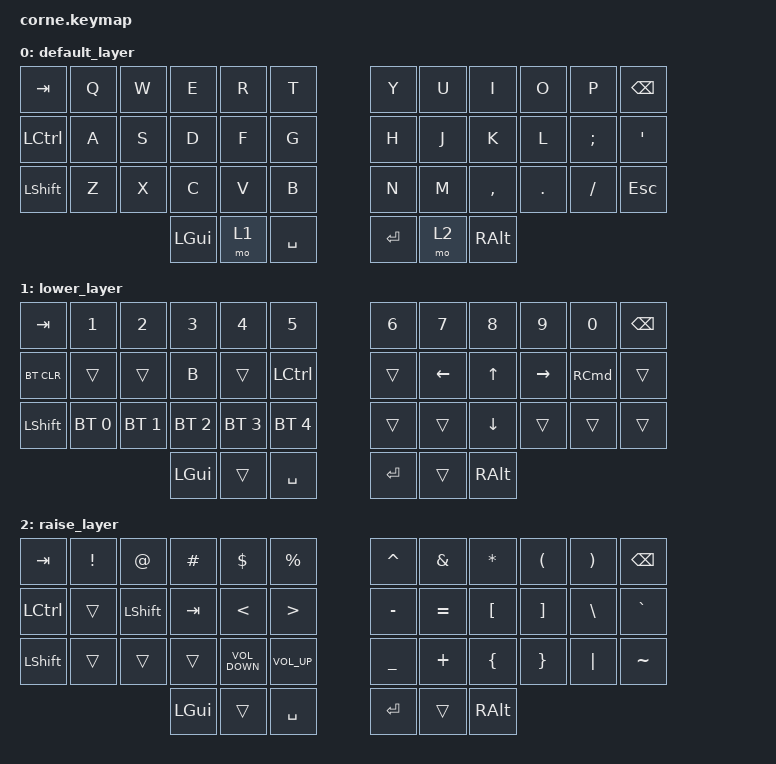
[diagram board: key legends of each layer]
/*
 * Copyright (c) 2020 The ZMK Contributors
 *
 * SPDX-License-Identifier: MIT
 */

#include <behaviors.dtsi>
#include <dt-bindings/zmk/bt.h>
#include <dt-bindings/zmk/keys.h>

/ {
    keymap {
        compatible = "zmk,keymap";

        default_layer {
            // -----------------------------------------------------------------------------------------
            // |  TAB |  Q  |  W  |  E  |  R  |  T  |   |  Y  |  U   |  I  |  O  |  P  | BSPC |
            // | CTRL |  A  |  S  |  D  |  F  |  G  |   |  H  |  J   |  K  |  L  |  ;  |  '   |
            // | SHFT |  Z  |  X  |  C  |  V  |  B  |   |  N  |  M   |  ,  |  .  |  /  | ESC  |
            //                    | GUI | LWR | SPC |   | ENT | RSE  | ALT |

            bindings = <
&kp TAB    &kp Q  &kp W  &kp E     &kp R  &kp T        &kp Y    &kp U  &kp I      &kp O    &kp P     &kp BSPC
&kp LCTRL  &kp A  &kp S  &kp D     &kp F  &kp G        &kp H    &kp J  &kp K      &kp L    &kp SEMI  &kp SQT
&kp LSHFT  &kp Z  &kp X  &kp C     &kp V  &kp B        &kp N    &kp M  &kp COMMA  &kp DOT  &kp FSLH  &kp ESC
                         &kp LGUI  &mo 1  &kp SPACE    &kp RET  &mo 2  &kp RALT
            >;
        };

        lower_layer {
            // -----------------------------------------------------------------------------------------
            // |  TAB |  1  |  2  |  3  |  4  |  5  |   |  6  |  7  |  8  |  9  |  0  | BSPC |
            // | BTCLR| BT1 | BT2 | BT3 | BT4 | BT5 |   | LFT | DWN |  UP | RGT |     |      |
            // | SHFT |     |     |     |     |     |   |     |     |     |     |     |      |
            //                    | GUI |     | SPC |   | ENT |     | ALT |

            bindings = <
&kp TAB     &kp N1        &kp N2        &kp N3        &kp N4        &kp N5              &kp N6   &kp N7          &kp N8    &kp N9     &kp N0             &kp BSPC
&bt BT_CLR  &trans        &trans        &kp B         &trans        &kp LEFT_CONTROL    &trans   &kp LEFT_ARROW  &kp UP    &kp RIGHT  &kp RIGHT_COMMAND  &trans
&kp LSHFT   &bt BT_SEL 0  &bt BT_SEL 1  &bt BT_SEL 2  &bt BT_SEL 3  &bt BT_SEL 4        &trans   &trans          &kp DOWN  &trans     &trans             &trans
                                        &kp LGUI      &trans        &kp SPACE           &kp RET  &trans          &kp RALT
            >;
        };

        raise_layer {
            // -----------------------------------------------------------------------------------------
            // |  TAB |  !  |  @  |  #  |  $  |  %  |   |  ^  |  &  |  *  |  (  |  )  | BSPC |
            // | CTRL |     |     |     |     |     |   |  -  |  =  |  [  |  ]  |  \  |  `   |
            // | SHFT |     |     |     |     |     |   |  _  |  +  |  {  |  }  | "|" |  ~   |
            //                    | GUI |     | SPC |   | ENT |     | ALT |

            bindings = <
&kp TAB    &kp EXCL  &kp AT          &kp HASH  &kp DLLR           &kp PRCNT           &kp CARET  &kp AMPS   &kp ASTRK  &kp LPAR  &kp RPAR  &kp BSPC
&kp LCTRL  &trans    &kp LEFT_SHIFT  &kp TAB   &kp LESS_THAN      &kp GREATER_THAN    &kp MINUS  &kp EQUAL  &kp LBKT   &kp RBKT  &kp BSLH  &kp GRAVE
&kp LSHFT  &trans    &trans          &trans    &kp C_VOLUME_DOWN  &kp C_VOLUME_UP     &kp UNDER  &kp PLUS   &kp LBRC   &kp RBRC  &kp PIPE  &kp TILDE
                                     &kp LGUI  &trans             &kp SPACE           &kp RET    &trans     &kp RALT
            >;
        };
    };
};
